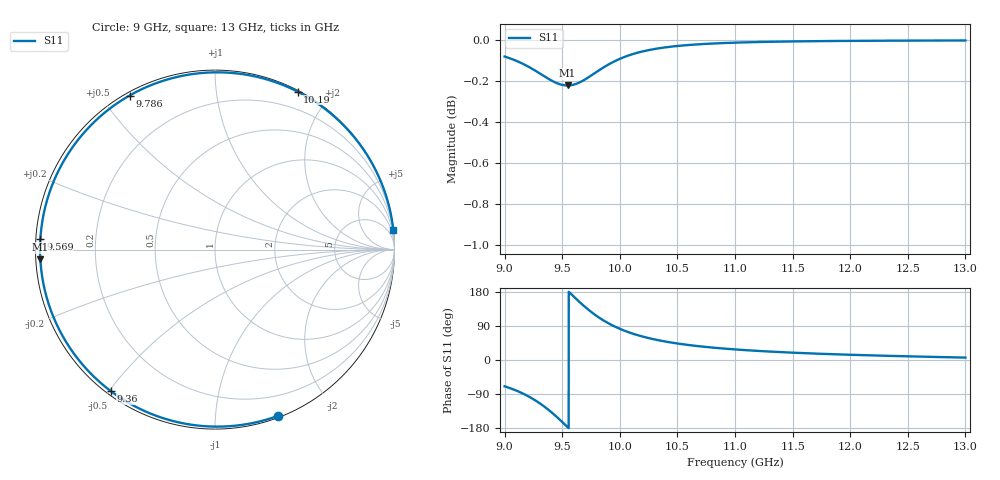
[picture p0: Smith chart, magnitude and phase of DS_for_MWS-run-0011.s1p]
! TOUCHSTONE file generated by CST DESIGN STUDIO
! Date and time: Tue Feb  4 17:21:35 2025
! Project name: C:\Work\MatlabApps\UnitCellOptimizationMatlab\CST\unitcell.cst
! Tree item: Tasks\Sweep1\SPara1\S-Parameters
! Header version: 2024
! Port assignment regex: !\s*Touchstone port\s*([0-9]+)\s*=\s*(CST MWS port|CST DES external port|CST DES block port)\s*(.+)\s* \(\"(.*)\"\)(\s*mode\s*([0-9]+))?.*
! Touchstone port assignment:
! Touchstone port 1 = CST DES external port 1 ("")
# GHz S MA R 50
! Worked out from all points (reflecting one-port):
!   4001 points, 9 GHz to 13 GHz, reference 50 ohm
!   lowest |S11| = -0.2 dB at 9.546 GHz (marker M1), VSWR 77.90, Z = 0.642 - j1.36 ohm
!   phase of S11 starts at -69 deg and turns -284 deg over the sweep
!   S11 on the Smith chart (normalised r, x): 9 GHz: 0.01, -1.45; 9.36 GHz: 0.01, -0.50; 9.569 GHz: 0.01, +0.03; 9.786 GHz: 0.01, +0.59; 10.19 GHz: 0.01, +1.65; 13 GHz: 0, +18
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9  0.9906 -69.4
9.038  0.9898 -73.3
9.103  0.9882 -80.9
9.214  0.9847 -97.1
9.291  0.9818 -111.3
9.36  0.9791 -126.4
9.428  0.9767 -143.5
9.5  0.975 -163.5
9.546  0.9747 -176.9
9.569  0.9747 176.4
9.624  0.9756 160.4
9.685  0.9775 143.6
9.735  0.9794 130.8
9.786  0.9816 119.0
9.832  0.9835 109.4
9.882  0.9854 100.1
9.937  0.9874 91.2
10  0.9893 82.3
10.092  0.9915 71.6
10.191  0.9933 62.4
10.333  0.9951 52.3
10.5  0.9964 43.6
10.721  0.9975 35.2
11  0.9983 27.9
11.5  0.999 19.4
12  0.9993 13.8
12.5  0.9994 9.7
13  0.9995 6.3
